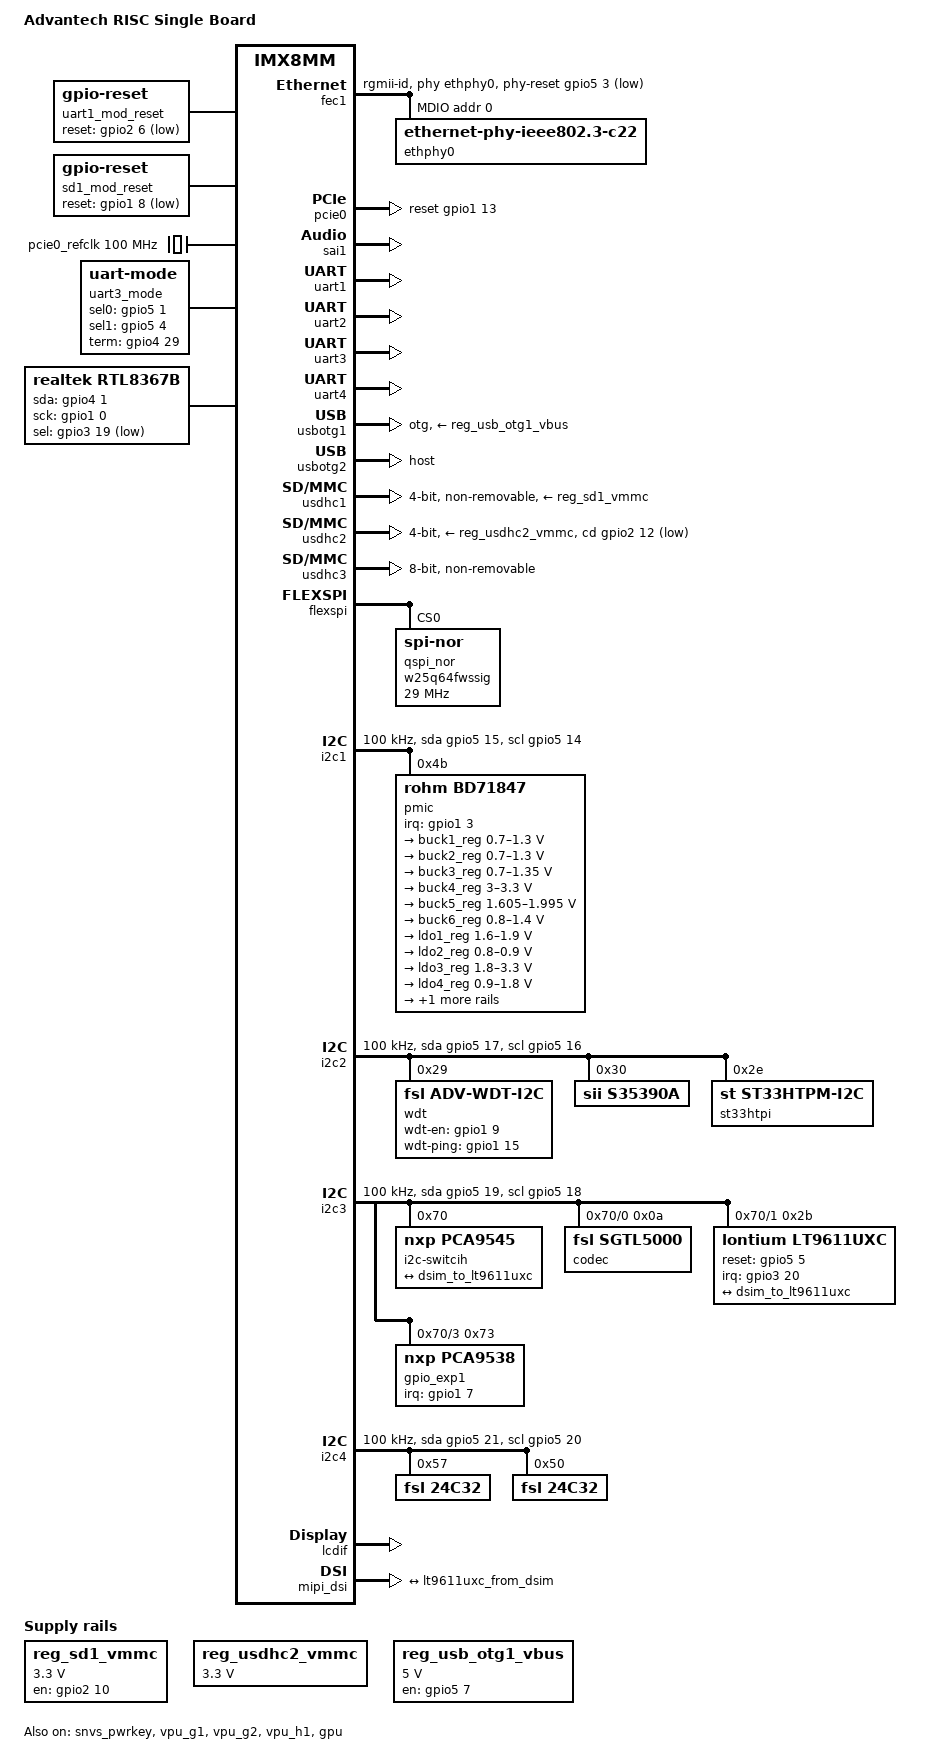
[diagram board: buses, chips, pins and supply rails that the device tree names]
// SPDX-License-Identifier: (GPL-2.0+ OR MIT)
/*
 * Copyright 2019 NXP
 */

/dts-v1/;

#include <dt-bindings/usb/pd.h>
#include "imx8mm.dtsi"
#include <dt-bindings/display/drm_mipi_dsi.h>
#include <dt-bindings/display/dt-media-bus-format.h>
/ {
	model = "Advantech RISC Single Board";
	compatible = "fsl,imx8mm-evk", "fsl,imx8mm";

	board {
		compatible = "proc-board";
		board-type = "RSB-3730 A2";
		board-cpu = "IMX8MM";
	};

	aliases {
		rtc0 = &s35390a;
		rtc1 = &snvs_rtc;
	};

	reserved-memory {
		#address-cells = <2>;
		#size-cells = <2>;
		ranges;

		rpmsg_reserved: rpmsg@0xb8000000 {
			no-map;
			reg = <0 0xb8000000 0 0x400000>;
		};
	};

	chosen {
		stdout-path = &uart2;
	};

	uart1_mod_reset: uart1-mod-reset {
		compatible = "gpio-reset";
		reset-gpios = <&gpio2 6 GPIO_ACTIVE_LOW>;
		reset-delay-us = <2000>;
		reset-post-delay-ms = <40>;
		#reset-cells = <0>;
	};

	sd1_mod_reset: sd1-mod-reset {
		compatible = "gpio-reset";
		reset-gpios = <&gpio1 8 GPIO_ACTIVE_LOW>;
		reset-delay-us = <2000>;
		reset-post-delay-ms = <40>;
		#reset-cells = <0>;
	};

	backlight0: backlight@0 {
		compatible = "pwm-backlight";
		pwms = <&pwm4 0 1000000 0>;
		brightness-levels = < 0  1  2  3  4  5  6  7  8  9
							 10 11 12 13 14 15 16 17 18 19
							 20 21 22 23 24 25 26 27 28 29
							 30 31 32 33 34 35 36 37 38 39
							 40 41 42 43 44 45 46 47 48 49
							 50 51 52 53 54 55 56 57 58 59
							 60 61 62 63 64 65 66 67 68 69
							 70 71 72 73 74 75 76 77 78 79
							 80 81 82 83 84 85 86 87 88 89
							 90 91 92 93 94 95 96 97 98 99
							100>;
		default-brightness-level = <80>;
		default-enable = <0>;
	};

	pcie0_refclk: pcie0-refclk {
		compatible = "fixed-clock";
		#clock-cells = <0>;
		clock-frequency = <100000000>;
	};

	reg_sd1_vmmc: sd1_regulator {
		compatible = "regulator-fixed";
		regulator-name = "WLAN_EN";
		regulator-min-microvolt = <3300000>;
		regulator-max-microvolt = <3300000>;
		gpio = <&gpio2 10 GPIO_ACTIVE_HIGH>;
		off-on-delay-us = <20000>;
		startup-delay-us = <100>;
		enable-active-high;
	};

	reg_usdhc2_vmmc: regulator-usdhc2 {
		compatible = "regulator-fixed";
		pinctrl-names = "default";
		pinctrl-0 = <&pinctrl_reg_usdhc2_vmmc>;
		regulator-name = "VSD_3V3";
		regulator-min-microvolt = <3300000>;
		regulator-max-microvolt = <3300000>;
		off-on-delay-us = <20000>;
		enable-active-high;
	};

	reg_usb_otg1_vbus: regulator-vbus {
		compatible = "regulator-fixed";
		regulator-name = "usb_otg1_vbus";
		regulator-min-microvolt = <5000000>;
		regulator-max-microvolt = <5000000>;
		gpio = <&gpio5 7 GPIO_ACTIVE_HIGH>;
		enable-active-high;
	};

	sound {
		compatible = "fsl,sgtl5000",
				     "fsl,imx-audio-sgtl5000";
		model = "sgtl5000";
		codec-master;
		ssi-controller = <&sai1>;
		audio-codec = <&codec>;
		audio-routing =
				"MIC_IN", "Mic Jack",
				"Mic Jack", "Mic Bias",
				"Headphone Jack", "HP_OUT";
		no-audmux;
	};

	uart3_mode:uart3-mode {
		compatible = "uart-mode";
		status = "okay";

		index = <2>;
		default_mode = <0>;//RS232
		rs232_mode_table = <1 0 1>;
		rs485_mode_table = <0 1 1>;

		sel0_gpio = <&gpio5 1 GPIO_ACTIVE_HIGH>;
		sel1_gpio = <&gpio5 4 GPIO_ACTIVE_HIGH>;
		term_gpio = <&gpio4 29 GPIO_ACTIVE_HIGH>;
	};

	rtl8367 {
		compatible = "realtek,rtl8367b";
		pinctrl-names = "default";
		gpio-sda = <&gpio4 1 GPIO_ACTIVE_HIGH>;
		gpio-sck = <&gpio1 0 GPIO_ACTIVE_HIGH>;
		gpio-sel = <&gpio3 19 GPIO_ACTIVE_LOW>;
		realtek,extif0 = <1 0 1 1 1 1 1 1 2>;
	};
};

&A53_0 {
	cpu-supply = <&buck2_reg>;
};

&fec1 {
	pinctrl-names = "default";
	pinctrl-0 = <&pinctrl_fec1>;
	phy-mode = "rgmii-id";
	phy-handle = <&ethphy0>;
	phy-reset-gpios = <&gpio5 3 GPIO_ACTIVE_LOW>;
	phy-reset-post-delay = <75>;
	phy-reset-duration = <50>;
	adv,disable-mii-clk;
	fsl,magic-packet;
	status = "okay";

	mdio {
		#address-cells = <1>;
		#size-cells = <0>;

		ethphy0: ethernet-phy@0 {
			compatible = "ethernet-phy-ieee802.3-c22";
			reg = <0>;
			eee-broken-1000t;
			ssc-enable;
		};
	};
};

&pcie0{
	pinctrl-names = "default";
	pinctrl-0 = <&pinctrl_pcie0>;
	disable-gpio = <&gpio1 8 GPIO_ACTIVE_LOW>; //W_DISABLE1
	reset-gpio = <&gpio1 13 GPIO_ACTIVE_HIGH>;
	m2-pwr-en = <&gpio4 25 GPIO_ACTIVE_HIGH>;
	usb-host-pwr-en = <&gpio1 6 GPIO_ACTIVE_HIGH>; /* MINICARD_PWR_EN */
	clocks = <&clk IMX8MM_CLK_PCIE1_ROOT>,
		 <&clk IMX8MM_CLK_PCIE1_AUX>,
		 <&clk IMX8MM_CLK_PCIE1_PHY>,
		 <&pcie0_refclk>;
	clock-names = "pcie", "pcie_aux", "pcie_phy", "pcie_bus";
	ext_osc = <1>;
	status = "okay";
};

&sai1 {
	pinctrl-names = "default";
	pinctrl-0 = <&pinctrl_sai1 &pinctrl_codec_mute>;
	assigned-clocks = <&clk IMX8MM_CLK_SAI1>;
	assigned-clock-parents = <&clk IMX8MM_AUDIO_PLL1_OUT>;
	assigned-clock-rates = <0>, <24576000>;
	mute-gpios = <&gpio4 0 GPIO_ACTIVE_HIGH>;	//audio mute
	status = "okay";
};

&snvs_pwrkey {
	status = "okay";
};

&uart1 { 
	pinctrl-names = "default";
	pinctrl-0 = <&pinctrl_uart1>;
	assigned-clocks = <&clk IMX8MM_CLK_UART1>;
	assigned-clock-parents = <&clk IMX8MM_SYS_PLL1_80M>;
	fsl,uart-has-rtscts;
	resets = <&uart1_mod_reset>;
	status = "okay";
};

&uart2 { /* A53 console */
	pinctrl-names = "default";
	pinctrl-0 = <&pinctrl_uart2>;
	status = "okay";
};

&uart3 {
	pinctrl-names = "default";
	pinctrl-0 = <&pinctrl_uart3>;
	fsl,uart-has-rtscts;
	rs485-rts-active-low;
	status = "okay";
};

&uart4 { /* M4 debug */
	pinctrl-names = "default";
	pinctrl-0 = <&pinctrl_uart4>;
	en-gpio = <&gpio5 6 GPIO_ACTIVE_HIGH>;
	status = "okay";
};

&usbotg1 {
	pinctrl-names = "default";
	pinctrl-0 = <&pinctrl_usbotg>;
	dr_mode = "otg";
	//extcon = <0>, <&typec1_ptn5110>;
	extcon = <0>;
	vbus-supply = <&reg_usb_otg1_vbus>;
	picophy,pre-emp-curr-control = <3>;
	picophy,dc-vol-level-adjust = <7>;
	status = "okay";
};

&usbotg2 {
	dr_mode = "host";
	status = "okay";
};

&usdhc1 {	/* wifi bt */
	pinctrl-names = "default", "state_100mhz", "state_200mhz";
	pinctrl-0 = <&pinctrl_usdhc1>, <&pinctrl_usdhc1_gpio>;
	pinctrl-1 = <&pinctrl_usdhc1_100mhz>, <&pinctrl_usdhc1_gpio>;
	pinctrl-2 = <&pinctrl_usdhc1_200mhz>, <&pinctrl_usdhc1_gpio>;
	bus-width = <4>;
	vmmc-supply = <&reg_sd1_vmmc>;
	resets = <&sd1_mod_reset>;
	pm-ignore-notify;
	keep-power-in-suspend;
	non-removable;
	status = "okay";
};

&usdhc2 {
	pinctrl-names = "default", "state_100mhz", "state_200mhz";
	pinctrl-0 = <&pinctrl_usdhc2>, <&pinctrl_usdhc2_gpio>;
	pinctrl-1 = <&pinctrl_usdhc2_100mhz>, <&pinctrl_usdhc2_gpio>;
	pinctrl-2 = <&pinctrl_usdhc2_200mhz>, <&pinctrl_usdhc2_gpio>;
	cd-gpios = <&gpio2 12 GPIO_ACTIVE_LOW>;
	//wp-gpios = <&gpio2 20 GPIO_ACTIVE_HIGH>;
	bus-width = <4>;
	vmmc-supply = <&reg_usdhc2_vmmc>;
	status = "okay";
};

&usdhc3 {
	pinctrl-names = "default", "state_100mhz", "state_200mhz";
	pinctrl-0 = <&pinctrl_usdhc3>;
	pinctrl-1 = <&pinctrl_usdhc3_100mhz>;
	pinctrl-2 = <&pinctrl_usdhc3_200mhz>;
	bus-width = <8>;
	non-removable;
	cqe-disabled;
	status = "okay";
};

&wdog1 {
	pinctrl-names = "default";
	pinctrl-0 = <&pinctrl_wdog>;
	fsl,ext-reset-output;
	status = "disabled";
};

&flexspi {
	pinctrl-names = "default";
	pinctrl-0 = <&pinctrl_flexspi0>;
	status = "okay";

	qspi_nor: w25q64fwssig@0 {
		reg = <0>;
		#address-cells = <1>;
		#size-cells = <1>;
		compatible = "jedec,spi-nor", "winbond,w25q64";
		spi-max-frequency = <29000000>;
		spi-nor,quad-read = <4>;
	};
};

&i2c1 {
	clock-frequency = <100000>;
	pinctrl-names = "default", "gpio";
	pinctrl-0 = <&pinctrl_i2c1>;
	pinctrl-1 = <&pinctrl_i2c1_gpio>;
	scl-gpios = <&gpio5 14 GPIO_ACTIVE_HIGH>;
	sda-gpios = <&gpio5 15 GPIO_ACTIVE_HIGH>;
	status = "okay";

	pmic@4b {
		compatible = "rohm,bd71847";
		reg = <0x4b>;
		pinctrl-0 = <&pinctrl_pmic>;
		interrupt-parent = <&gpio1>;
		interrupts = <3 GPIO_ACTIVE_LOW>;
		rohm,reset-snvs-powered;

		regulators {
			buck1_reg: BUCK1 {
				regulator-name = "BUCK1";
				regulator-min-microvolt = <700000>;
				regulator-max-microvolt = <1300000>;
				regulator-boot-on;
				regulator-always-on;
				regulator-ramp-delay = <1250>;
			};

			buck2_reg: BUCK2 {
				regulator-name = "BUCK2";
				regulator-min-microvolt = <700000>;
				regulator-max-microvolt = <1300000>;
				regulator-boot-on;
				regulator-always-on;
				regulator-ramp-delay = <1250>;
				rohm,dvs-run-voltage = <1000000>;
				rohm,dvs-idle-voltage = <900000>;
			};

			buck3_reg: BUCK3 {
				// BUCK5 in datasheet
				regulator-name = "BUCK3";
				regulator-min-microvolt = <700000>;
				regulator-max-microvolt = <1350000>;
				regulator-boot-on;
				regulator-always-on;
			};

			buck4_reg: BUCK4 {
				// BUCK6 in datasheet
				regulator-name = "BUCK4";
				regulator-min-microvolt = <3000000>;
				regulator-max-microvolt = <3300000>;
				regulator-boot-on;
				regulator-always-on;
			};

			buck5_reg: BUCK5 {
				// BUCK7 in datasheet
				regulator-name = "BUCK5";
				regulator-min-microvolt = <1605000>;
				regulator-max-microvolt = <1995000>;
				regulator-boot-on;
				regulator-always-on;
			};

			buck6_reg: BUCK6 {
				// BUCK8 in datasheet
				regulator-name = "BUCK6";
				regulator-min-microvolt = <800000>;
				regulator-max-microvolt = <1400000>;
				regulator-boot-on;
				regulator-always-on;
			};

			ldo1_reg: LDO1 {
				regulator-name = "LDO1";
				regulator-min-microvolt = <1600000>;
				regulator-max-microvolt = <1900000>;
				regulator-boot-on;
				regulator-always-on;
			};

			ldo2_reg: LDO2 {
				regulator-name = "LDO2";
				regulator-min-microvolt = <800000>;
				regulator-max-microvolt = <900000>;
				regulator-boot-on;
				regulator-always-on;
			};

			ldo3_reg: LDO3 {
				regulator-name = "LDO3";
				regulator-min-microvolt = <1800000>;
				regulator-max-microvolt = <3300000>;
				regulator-boot-on;
				regulator-always-on;
			};

			ldo4_reg: LDO4 {
				regulator-name = "LDO4";
				regulator-min-microvolt = <900000>;
				regulator-max-microvolt = <1800000>;
				regulator-boot-on;
				regulator-always-on;
			};

			ldo6_reg: LDO6 {
				regulator-name = "LDO6";
				regulator-min-microvolt = <900000>;
				regulator-max-microvolt = <1800000>;
				regulator-boot-on;
				regulator-always-on;
			};
		};
	};
};

&i2c2 {
	clock-frequency = <100000>;
	pinctrl-names = "default", "gpio";
	pinctrl-0 = <&pinctrl_i2c2>;
	pinctrl-1 = <&pinctrl_i2c2_gpio>;
	scl-gpios = <&gpio5 16 GPIO_ACTIVE_HIGH>;
	sda-gpios = <&gpio5 17 GPIO_ACTIVE_HIGH>;
	status = "okay";

	wdt@29 {
		compatible = "fsl,adv-wdt-i2c";
		pinctrl-names = "default";
		pinctrl-0 = <&pinctrl_wdt_en_1 &pinctrl_wdt_ping_1>;
		fix-first-comm-issue;
		status = "okay";
		wdt-en = <&gpio1 9 0>;
		wdt-ping = <&gpio1 15 0>;
		reg = <0x29>;
	};

	s35390a: s35390a@30 {
		compatible = "sii,s35390a";
		reg = <0x30>;
		status = "okay";
	};

	st33htpi: st33htpi@2e{
		compatible = "st,st33htpm-i2c";
		reg= <0x2e>;
		status = "okay";
	};
};

&i2c3 {
	clock-frequency = <100000>;
	pinctrl-names = "default", "gpio";
	pinctrl-0 = <&pinctrl_i2c3>;
	pinctrl-1 = <&pinctrl_i2c3_gpio>;
	scl-gpios = <&gpio5 18 GPIO_ACTIVE_HIGH>;
	sda-gpios = <&gpio5 19 GPIO_ACTIVE_HIGH>;
	status = "okay";

	i2c-switcih@70 {
		#address-cells = <1>;
		#size-cells = <0>;
		compatible = "nxp,pca9545";
		reg = <0x70>;

		i2c@0 {
			reg = <0>;
			#address-cells = <1>;
			#size-cells = <0>;

			codec: sgtl5000@a {
				compatible = "fsl,sgtl5000";
				reg = <0x0a>;
				clocks = <&clk IMX8MM_CLK_SAI1_ROOT>;
				clock-names = "mclk";
				pinctrl-names = "default";
				pinctrl-0 = <&pinctrl_sai1_mclk>;
				assigned-clocks = <&clk IMX8MM_CLK_SAI1>;
				assigned-clock-parents = <&clk IMX8MM_AUDIO_PLL1_OUT>;
				assigned-clock-rates = <24576000>;
			};
		};

		i2c@1 {
			reg = <1>;
			#address-cells = <1>;
			#size-cells = <0>;

			lt9611uxc: lt9611uxc@2b {
				compatible = "lontium,lt9611uxc";
				status = "disabled";
				reg = <0x2b>;
				#sound-dai-cells = <0>;

				reset-gpios = <&gpio5 5 GPIO_ACTIVE_HIGH>;
				interrupts-extended = <&gpio3 20 IRQ_TYPE_EDGE_FALLING>;
				pinctrl-names = "default";
				pinctrl-0 = <&pinctrl_hdmi_bridge>;
			};
		};

		i2c@2 {
			reg = <2>;
			#address-cells = <1>;
			#size-cells = <0>;
		};

		i2c@3 {
			reg = <3>;
			#address-cells = <1>;
			#size-cells = <0>;

			gpio_exp1: pca9538@73 {
				compatible = "nxp,pca9538";
				reg = <0x73>;
				pinctrl-names = "default";
				pinctrl-0 = <&pinctrl_i2c_switch>;
				#gpio-cells = <2>;
				gpio-controller;
				interrupt-controller;
				interrupt-parent = <&gpio1>;
				interrupts = <7 IRQ_TYPE_LEVEL_LOW>;
			};
		};
	};
};

&i2c4 {
	clock-frequency = <100000>;
	pinctrl-names = "default", "gpio";
	pinctrl-0 = <&pinctrl_i2c4>;
	pinctrl-1 = <&pinctrl_i2c4_gpio>;
	scl-gpios = <&gpio5 20 GPIO_ACTIVE_HIGH>;
	sda-gpios = <&gpio5 21 GPIO_ACTIVE_HIGH>;
	status = "okay";

	24c32@57 {				//DB5901-U19
		compatible = "fsl,24c32";
		reg = <0x57>;
	};

	24c32@50 {				//DB5901-I2C_GP_1
		compatible = "fsl,24c32";
		reg = <0x50>;
	};
};

&iomuxc {
	pinctrl-names = "default";

	pinctrl_hog: hoggrp {
		fsl,pins = <
			MX8MM_IOMUXC_UART1_RXD_GPIO5_IO22		0x116	/* GPIO1 */
			MX8MM_IOMUXC_UART1_TXD_GPIO5_IO23		0x116	/* GPIO2 */
			MX8MM_IOMUXC_UART2_RXD_GPIO5_IO24		0x116	/* GPIO3 */
			MX8MM_IOMUXC_UART2_TXD_GPIO5_IO25		0x116	/* GPIO4 */
			MX8MM_IOMUXC_SAI5_RXD0_GPIO3_IO21		0x116	/* GPIO5 */
			MX8MM_IOMUXC_ECSPI2_SS0_GPIO5_IO13		0x116	/* GPIO6 */
			MX8MM_IOMUXC_ECSPI2_SCLK_GPIO5_IO10		0x116	/* GPIO7 */
			MX8MM_IOMUXC_ECSPI2_MISO_GPIO5_IO12		0x116	/* GPIO8 */
			MX8MM_IOMUXC_ECSPI2_MOSI_GPIO5_IO11		0x116	/* GPIO9 */
			MX8MM_IOMUXC_SAI3_RXFS_GPIO4_IO28		0x116	/* GPIO10 */
			MX8MM_IOMUXC_GPIO1_IO00_GPIO1_IO0		0x116	/* GPIO11 */
			MX8MM_IOMUXC_SAI1_RXC_GPIO4_IO1			0x116	/* GPIO12 */
		>;
	};

	pinctrl_fec1: fec1grp {
		fsl,pins = <
			MX8MM_IOMUXC_ENET_MDC_ENET1_MDC			0x3
			MX8MM_IOMUXC_ENET_MDIO_ENET1_MDIO		0x3
			MX8MM_IOMUXC_ENET_TD3_ENET1_RGMII_TD3		0x1f
			MX8MM_IOMUXC_ENET_TD2_ENET1_RGMII_TD2		0x1f
			MX8MM_IOMUXC_ENET_TD1_ENET1_RGMII_TD1		0x1f
			MX8MM_IOMUXC_ENET_TD0_ENET1_RGMII_TD0		0x1f
			MX8MM_IOMUXC_ENET_RD3_ENET1_RGMII_RD3		0x91
			MX8MM_IOMUXC_ENET_RD2_ENET1_RGMII_RD2		0x91
			MX8MM_IOMUXC_ENET_RD1_ENET1_RGMII_RD1		0x91
			MX8MM_IOMUXC_ENET_RD0_ENET1_RGMII_RD0		0x91
			MX8MM_IOMUXC_ENET_TXC_ENET1_RGMII_TXC		0x1f
			MX8MM_IOMUXC_ENET_RXC_ENET1_RGMII_RXC		0x91
			MX8MM_IOMUXC_ENET_RX_CTL_ENET1_RGMII_RX_CTL	0x91
			MX8MM_IOMUXC_ENET_TX_CTL_ENET1_RGMII_TX_CTL	0x1f
			MX8MM_IOMUXC_SPDIF_TX_GPIO5_IO3            	0x159
		>;
	};

	pinctrl_flexspi0: flexspi0grp {
		fsl,pins = <
			MX8MM_IOMUXC_NAND_ALE_QSPI_A_SCLK               0x1c2
			MX8MM_IOMUXC_NAND_CE0_B_QSPI_A_SS0_B            0x82
			MX8MM_IOMUXC_NAND_DATA00_QSPI_A_DATA0           0x82
			MX8MM_IOMUXC_NAND_DATA01_QSPI_A_DATA1           0x82
			MX8MM_IOMUXC_NAND_DATA02_QSPI_A_DATA2           0x82
			MX8MM_IOMUXC_NAND_DATA03_QSPI_A_DATA3           0x82
		>;
	};

	pinctrl_i2c1: i2c1grp {
		fsl,pins = <
			MX8MM_IOMUXC_I2C1_SCL_I2C1_SCL			0x400001c3
			MX8MM_IOMUXC_I2C1_SDA_I2C1_SDA			0x400001c3
		>;
	};

	pinctrl_i2c1_gpio: i2c1_gpio_grp {
		fsl,pins = <
			MX8MM_IOMUXC_I2C1_SCL_GPIO5_IO14		0x19
			MX8MM_IOMUXC_I2C1_SDA_GPIO5_IO15		0x19
		>;
	};

	pinctrl_i2c2: i2c2grp {
		fsl,pins = <
			MX8MM_IOMUXC_I2C2_SCL_I2C2_SCL			0x400001c3
			MX8MM_IOMUXC_I2C2_SDA_I2C2_SDA			0x400001c3
		>;
	};

	pinctrl_i2c2_gpio: i2c2_gpio_grp {
		fsl,pins = <
			MX8MM_IOMUXC_I2C2_SCL_GPIO5_IO16		0x19
			MX8MM_IOMUXC_I2C2_SDA_GPIO5_IO17		0x19
		>;
	};

	pinctrl_i2c3: i2c3grp {
		fsl,pins = <
			MX8MM_IOMUXC_I2C3_SCL_I2C3_SCL			0x400001c3
			MX8MM_IOMUXC_I2C3_SDA_I2C3_SDA			0x400001c3
		>;
	};

	pinctrl_i2c3_gpio: i2c3_gpio_grp {
		fsl,pins = <
			MX8MM_IOMUXC_I2C3_SCL_GPIO5_IO18		0x19
			MX8MM_IOMUXC_I2C3_SDA_GPIO5_IO19		0x19
		>;
	};

	pinctrl_i2c4: i2c4grp {
		fsl,pins = <
			MX8MM_IOMUXC_I2C4_SCL_I2C4_SCL			0x400001c3	/* I2C_GP_CK */
			MX8MM_IOMUXC_I2C4_SDA_I2C4_SDA			0x400001c3	/* I2C_GP_DAT */
		>;
	};

	pinctrl_i2c4_gpio: i2c4_gpio_grp {
		fsl,pins = <
			MX8MM_IOMUXC_I2C4_SCL_GPIO5_IO20		0x19
			MX8MM_IOMUXC_I2C4_SDA_GPIO5_IO21		0x19
		>;
	};

	pinctrl_pcie0: pcie0grp {
		fsl,pins = <
			MX8MM_IOMUXC_GPIO1_IO13_GPIO1_IO13		0x41	/* PCIE_RST */
			MX8MM_IOMUXC_SAI2_TXC_GPIO4_IO25		0x41    /* M2_PWR_EN */
			MX8MM_IOMUXC_GPIO1_IO08_GPIO1_IO8		0x41	/* M.2 W DIS1 */

			MX8MM_IOMUXC_GPIO1_IO06_GPIO1_IO6		0x41    /* MINICARD_PWR_EN */
			MX8MM_IOMUXC_SAI5_RXD3_GPIO3_IO24		0x41    /* MINICARD_RESET# */
			MX8MM_IOMUXC_SAI5_RXD2_GPIO3_IO23		0x41    /* MINICARD_W_DIS# */
			MX8MM_IOMUXC_SAI5_RXD1_GPIO3_IO22		0x41    /* MINICARD_DET# */
		>;
	};

	pinctrl_pmic: pmicirq {
		fsl,pins = <
			MX8MM_IOMUXC_GPIO1_IO03_GPIO1_IO3		0x41
		>;
	};

	pinctrl_reg_usdhc2_vmmc: regusdhc2vmmc {
		fsl,pins = <
			MX8MM_IOMUXC_SD2_RESET_B_GPIO2_IO19	0x41	/* SD2_PWR_EN_1V8 */
		>;
	};

	pinctrl_sai1: sai1grp {
		fsl,pins = <
			MX8MM_IOMUXC_SAI1_TXFS_SAI1_TX_SYNC	0xd6	/* SAI1_LRCK */
			MX8MM_IOMUXC_SAI1_TXC_SAI1_TX_BCLK	0xd6	/* SAI1_CK */
			MX8MM_IOMUXC_SAI1_TXD0_SAI1_TX_DATA0	0xd6	/* SAI1_SDOUT */
			MX8MM_IOMUXC_SAI1_RXD0_SAI1_RX_DATA0	0xd6	/* SAI1_SDIN */
		>;
	};
	
	pinctrl_sai1_mclk: sai1grp_mclk {
		fsl,pins = <
			MX8MM_IOMUXC_SAI1_MCLK_SAI1_MCLK	0xd6	/* SAI1_MCLK */
		>;
	};

	pinctrl_codec_mute: codec_mute  {
		fsl,pins = <
			MX8MM_IOMUXC_SAI1_RXFS_GPIO4_IO0	0x19	/* MUTE */
		>;
	};

	pinctrl_uart1: uart1grp {
		fsl,pins = <
			MX8MM_IOMUXC_SAI2_RXFS_UART1_TX 	0x140
			MX8MM_IOMUXC_SAI2_RXC_UART1_RX		0x140
			MX8MM_IOMUXC_SAI2_RXD0_UART1_RTS_B	0x140
			MX8MM_IOMUXC_SAI2_TXFS_UART1_CTS_B	0x140
		>;
	};

	pinctrl_uart2: uart2grp {
		fsl,pins = <            
			MX8MM_IOMUXC_SAI3_TXC_UART2_TX		0x140
			MX8MM_IOMUXC_SAI3_TXFS_UART2_RX		0x140
		>;
	};

	pinctrl_uart3: uart3grp {
		fsl,pins = <
			MX8MM_IOMUXC_UART3_RXD_UART3_DCE_RX		0x140
			MX8MM_IOMUXC_UART3_TXD_UART3_DCE_TX		0x140
			MX8MM_IOMUXC_ECSPI1_SS0_UART3_DCE_RTS_B		0x140
			MX8MM_IOMUXC_ECSPI1_MISO_UART3_DCE_CTS_B	0x140
			MX8MM_IOMUXC_ECSPI1_SCLK_GPIO5_IO6      0x19	/* UART EN */

			MX8MM_IOMUXC_SAI3_TXD_GPIO5_IO1			0x116	/* SEL0 */
			MX8MM_IOMUXC_SPDIF_RX_GPIO5_IO4			0x116	/* SEL1 */
			MX8MM_IOMUXC_SAI3_RXC_GPIO4_IO29		0x116	/* TERM */
		>;
	};

	pinctrl_uart4: uart4grp {
		fsl,pins = <
			MX8MM_IOMUXC_UART4_RXD_UART4_DCE_RX	0x140
			MX8MM_IOMUXC_UART4_TXD_UART4_DCE_TX	0x140
		>;
	};

	pinctrl_usdhc1_gpio: usdhc1grpgpio {
		fsl,pins = <
			MX8MM_IOMUXC_SD1_RESET_B_GPIO2_IO10	0x41	/* WL_REG_ON */
		>;
	};

	pinctrl_usdhc1: usdhc1grp {
		fsl,pins = <
			MX8MM_IOMUXC_SD1_CLK_USDHC1_CLK		0x190
			MX8MM_IOMUXC_SD1_CMD_USDHC1_CMD		0x1d0
			MX8MM_IOMUXC_SD1_DATA0_USDHC1_DATA0	0x1d0
			MX8MM_IOMUXC_SD1_DATA1_USDHC1_DATA1	0x1d0
			MX8MM_IOMUXC_SD1_DATA2_USDHC1_DATA2	0x1d0
			MX8MM_IOMUXC_SD1_DATA3_USDHC1_DATA3	0x1d0
		>;
	};

	pinctrl_usdhc1_100mhz: usdhc1grp100mhz {
		fsl,pins = <
			MX8MM_IOMUXC_SD1_CLK_USDHC1_CLK		0x194
			MX8MM_IOMUXC_SD1_CMD_USDHC1_CMD		0x1d4
			MX8MM_IOMUXC_SD1_DATA0_USDHC1_DATA0	0x1d4
			MX8MM_IOMUXC_SD1_DATA1_USDHC1_DATA1	0x1d4
			MX8MM_IOMUXC_SD1_DATA2_USDHC1_DATA2	0x1d4
			MX8MM_IOMUXC_SD1_DATA3_USDHC1_DATA3	0x1d4
		>;
	};

	pinctrl_usdhc1_200mhz: usdhc1grp200mhz {
		fsl,pins = <
			MX8MM_IOMUXC_SD1_CLK_USDHC1_CLK		0x196
			MX8MM_IOMUXC_SD1_CMD_USDHC1_CMD		0x1d6
			MX8MM_IOMUXC_SD1_DATA0_USDHC1_DATA0	0x1d6
			MX8MM_IOMUXC_SD1_DATA1_USDHC1_DATA1	0x1d6
			MX8MM_IOMUXC_SD1_DATA2_USDHC1_DATA2	0x1d6
			MX8MM_IOMUXC_SD1_DATA3_USDHC1_DATA3	0x1d6
		>;
	};

	pinctrl_usdhc2_gpio: usdhc2grpgpio {
		fsl,pins = <
			MX8MM_IOMUXC_SD2_CD_B_GPIO2_IO12	0x159	/* SD2_CD */
			MX8MM_IOMUXC_SD2_WP_GPIO2_IO20		0x159	/* SD2_WP */
		>;
	};

	pinctrl_usdhc2: usdhc2grp {
		fsl,pins = <
			MX8MM_IOMUXC_SD2_CLK_USDHC2_CLK		0x190
			MX8MM_IOMUXC_SD2_CMD_USDHC2_CMD		0x1d0
			MX8MM_IOMUXC_SD2_DATA0_USDHC2_DATA0	0x1d0
			MX8MM_IOMUXC_SD2_DATA1_USDHC2_DATA1	0x1d0
			MX8MM_IOMUXC_SD2_DATA2_USDHC2_DATA2	0x1d0
			MX8MM_IOMUXC_SD2_DATA3_USDHC2_DATA3	0x1d0
			MX8MM_IOMUXC_GPIO1_IO04_USDHC2_VSELECT	0x1d0
		>;
	};

	pinctrl_usdhc2_100mhz: usdhc2grp100mhz {
		fsl,pins = <
			MX8MM_IOMUXC_SD2_CLK_USDHC2_CLK		0x194
			MX8MM_IOMUXC_SD2_CMD_USDHC2_CMD		0x1d4
			MX8MM_IOMUXC_SD2_DATA0_USDHC2_DATA0	0x1d4
			MX8MM_IOMUXC_SD2_DATA1_USDHC2_DATA1	0x1d4
			MX8MM_IOMUXC_SD2_DATA2_USDHC2_DATA2	0x1d4
			MX8MM_IOMUXC_SD2_DATA3_USDHC2_DATA3	0x1d4
			MX8MM_IOMUXC_GPIO1_IO04_USDHC2_VSELECT	0x1d0
		>;
	};

	pinctrl_usdhc2_200mhz: usdhc2grp200mhz {
		fsl,pins = <
			MX8MM_IOMUXC_SD2_CLK_USDHC2_CLK		0x196
			MX8MM_IOMUXC_SD2_CMD_USDHC2_CMD		0x1d6
			MX8MM_IOMUXC_SD2_DATA0_USDHC2_DATA0	0x1d6
			MX8MM_IOMUXC_SD2_DATA1_USDHC2_DATA1	0x1d6
			MX8MM_IOMUXC_SD2_DATA2_USDHC2_DATA2	0x1d6
			MX8MM_IOMUXC_SD2_DATA3_USDHC2_DATA3	0x1d6
			MX8MM_IOMUXC_GPIO1_IO04_USDHC2_VSELECT	0x1d0
		>;
	};

	pinctrl_usdhc3: usdhc3grp {
		fsl,pins = <
			MX8MM_IOMUXC_NAND_WE_B_USDHC3_CLK		0x190	/* SD3_CLK */
			MX8MM_IOMUXC_NAND_WP_B_USDHC3_CMD		0x1d0	/* SD3_CMD */
			MX8MM_IOMUXC_NAND_DATA04_USDHC3_DATA0		0x1d0	/* SD3_DATA0 */
			MX8MM_IOMUXC_NAND_DATA05_USDHC3_DATA1		0x1d0	/* SD3_DATA1 */
			MX8MM_IOMUXC_NAND_DATA06_USDHC3_DATA2		0x1d0	/* SD3_DATA2 */
			MX8MM_IOMUXC_NAND_DATA07_USDHC3_DATA3		0x1d0	/* SD3_DATA3 */
			MX8MM_IOMUXC_NAND_RE_B_USDHC3_DATA4		0x1d0	/* SD3_DATA4 */
			MX8MM_IOMUXC_NAND_CE2_B_USDHC3_DATA5		0x1d0	/* SD3_DATA5 */
			MX8MM_IOMUXC_NAND_CE3_B_USDHC3_DATA6		0x1d0	/* SD3_DATA6 */
			MX8MM_IOMUXC_NAND_CLE_USDHC3_DATA7		0x1d0	/* SD3_DATA7 */
			MX8MM_IOMUXC_NAND_CE1_B_USDHC3_STROBE 		0x190	/* SD3_STORBE */
		>;
	};

	pinctrl_usdhc3_100mhz: usdhc3grp100mhz {
		fsl,pins = <
			MX8MM_IOMUXC_NAND_WE_B_USDHC3_CLK		0x194
			MX8MM_IOMUXC_NAND_WP_B_USDHC3_CMD		0x1d4
			MX8MM_IOMUXC_NAND_DATA04_USDHC3_DATA0		0x1d4
			MX8MM_IOMUXC_NAND_DATA05_USDHC3_DATA1		0x1d4
			MX8MM_IOMUXC_NAND_DATA06_USDHC3_DATA2		0x1d4
			MX8MM_IOMUXC_NAND_DATA07_USDHC3_DATA3		0x1d4
			MX8MM_IOMUXC_NAND_RE_B_USDHC3_DATA4		0x1d4
			MX8MM_IOMUXC_NAND_CE2_B_USDHC3_DATA5		0x1d4
			MX8MM_IOMUXC_NAND_CE3_B_USDHC3_DATA6		0x1d4
			MX8MM_IOMUXC_NAND_CLE_USDHC3_DATA7		0x1d4
			MX8MM_IOMUXC_NAND_CE1_B_USDHC3_STROBE 		0x194
		>;
	};

	pinctrl_usdhc3_200mhz: usdhc3grp200mhz {
		fsl,pins = <
			MX8MM_IOMUXC_NAND_WE_B_USDHC3_CLK		0x196
			MX8MM_IOMUXC_NAND_WP_B_USDHC3_CMD		0x1d6
			MX8MM_IOMUXC_NAND_DATA04_USDHC3_DATA0		0x1d6
			MX8MM_IOMUXC_NAND_DATA05_USDHC3_DATA1		0x1d6
			MX8MM_IOMUXC_NAND_DATA06_USDHC3_DATA2		0x1d6
			MX8MM_IOMUXC_NAND_DATA07_USDHC3_DATA3		0x1d6
			MX8MM_IOMUXC_NAND_RE_B_USDHC3_DATA4		0x1d6
			MX8MM_IOMUXC_NAND_CE2_B_USDHC3_DATA5		0x1d6
			MX8MM_IOMUXC_NAND_CE3_B_USDHC3_DATA6		0x1d6
			MX8MM_IOMUXC_NAND_CLE_USDHC3_DATA7		0x1d6
			MX8MM_IOMUXC_NAND_CE1_B_USDHC3_STROBE 		0x196
		>;
	};

	pinctrl_wdog: wdoggrp {
		fsl,pins = <
			MX8MM_IOMUXC_GPIO1_IO02_WDOG1_WDOG_B		0xc6	/* PMIC_WDOG */
		>;
	};

	pinctrl_i2c_switch: i2c_switch_grp {
		fsl,pins = <
			MX8MM_IOMUXC_GPIO1_IO07_GPIO1_IO7		0x159	/* I2C_INT */
			MX8MM_IOMUXC_SAI5_RXFS_GPIO3_IO19		0x159	/* GPIO_11_12 Path Select*/
		>;
	};

	pinctrl_usbotg: usbotggrp {
		fsl,pins = <
			MX8MM_IOMUXC_ECSPI1_MOSI_GPIO5_IO7              0x19	/* USB1_OTG_EN */
		>;
	};

	pinctrl_hdmi_bridge: hdmi_bridge {
		fsl,pins = <
			MX8MM_IOMUXC_SAI5_RXC_GPIO3_IO20		0x116	/* INT */
			MX8MM_IOMUXC_SPDIF_EXT_CLK_GPIO5_IO5		0x116	/* RST */
		>;
	};

	pinctrl_wdt_en_1: wdt_engrp-1 {
		fsl,pins = <
			MX8MM_IOMUXC_GPIO1_IO09_GPIO1_IO9		0x19    /* WDT_EN */
		>;
	};

	pinctrl_wdt_ping_1: wdt_pinggrp-1 {
		fsl,pins = <
			MX8MM_IOMUXC_GPIO1_IO15_GPIO1_IO15		0x19    /* WDOG_TRIG */
		>;
	};

	pinctrl_wlan: wlangrp {
		fsl,pins = <
			MX8MM_IOMUXC_SD1_DATA7_GPIO2_IO9                0x111	/* WL_WAKE_HOST */
			MX8MM_IOMUXC_SD1_DATA6_GPIO2_IO8		0x111	/* BT_WAKE_HOST */
			MX8MM_IOMUXC_SAI5_RXC_GPIO3_IO20		0x19	/* WL_PRESENT */
		>;
	};

	pinctrl_pwm4: pwm4grp {
		fsl,pins = <
			MX8MM_IOMUXC_SAI3_MCLK_PWM4_OUT         0x06	/* LCD0_BKLT_PWM */
		>;
	};

	pinctrl_bkl: bklgrp {
		fsl,pins = <
			MX8MM_IOMUXC_SAI2_MCLK_GPIO4_IO27	0x19		/* LCD0_BKLT_PWR_EN */
			MX8MM_IOMUXC_SAI5_MCLK_GPIO3_IO25	0x19		/* LCD0_BKLT_EN */
		>;
	};
};

&lcdif {
	status = "okay";
};

&lt9611uxc {
	status = "okay";

	ports {
		#address-cells = <1>;
		#size-cells = <0>;

		port@0 {
			reg = <0>;
			lt9611uxc_from_dsim: endpoint {
				remote-endpoint = <&dsim_to_lt9611uxc>;
			};
		};
	};
};

&mipi_dsi {
	status = "okay";

	port@1 {
		dsim_to_lt9611uxc: endpoint {
			remote-endpoint = <&lt9611uxc_from_dsim>;
			attach-bridge;
		};
	};
};

&vpu_g1 {
	status = "okay";
};

&vpu_g2 {
	status = "okay";
};

&vpu_h1 {
	status = "okay";
};

&pwm4 {
	status = "disabled";
	pinctrl-names = "default";
	pinctrl-0 = <&pinctrl_pwm4>;
};

&backlight0 {
	pinctrl-names = "default";
	pinctrl-0 = <&pinctrl_bkl>;
	bklt-vcc-enable = <&gpio4 27 1>;
	lvds-bkl-enable = <&gpio3 25 1>;
	status = "disabled";
};

&gpu {
	status = "okay";
};
